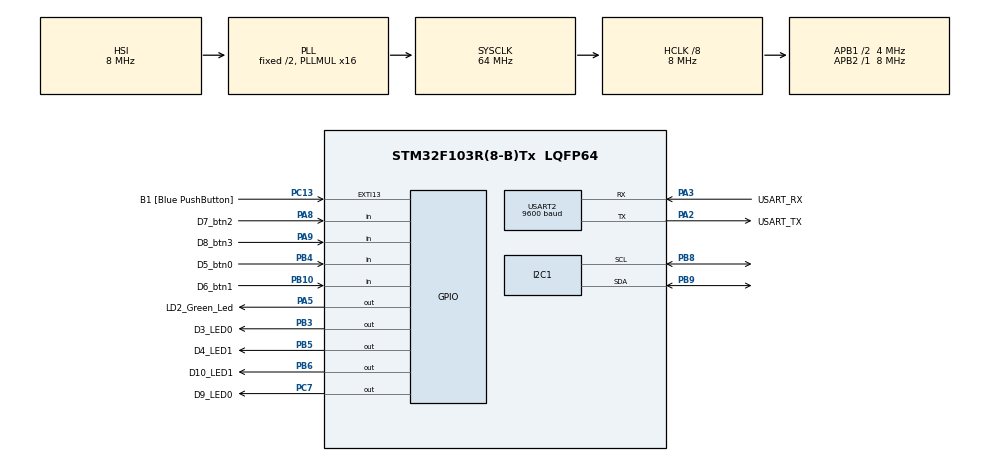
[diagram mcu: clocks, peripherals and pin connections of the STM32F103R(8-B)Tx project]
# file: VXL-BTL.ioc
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Mcu.Family=STM32F1
Mcu.Name=STM32F103R(8-B)Tx
Mcu.Package=LQFP64
NVIC.EXTI15_10_IRQn=true\:0\:0\:false\:false\:true\:true\:true
NVIC.PriorityGroup=NVIC_PRIORITYGROUP_4
NVIC.TIM2_IRQn=true\:0\:0\:false\:false\:true\:true\:true
NVIC.USART2_IRQn=true\:0\:0\:false\:false\:true\:true\:true
PA13.GPIO_Label=TMS
PA13.Mode=Serial_Wire
PA13.Signal=SYS_JTMS-SWDIO
PA14.GPIO_Label=TCK
PA14.Mode=Serial_Wire
PA14.Signal=SYS_JTCK-SWCLK
PA2.GPIO_Label=USART_TX
PA2.GPIO_Mode=GPIO_MODE_AF_PP
PA2.GPIO_PuPd=GPIO_NOPULL
PA2.GPIO_Speed=GPIO_SPEED_FREQ_LOW
PA2.Mode=Asynchronous
PA2.Signal=USART2_TX
PA3.GPIO_Label=USART_RX
PA3.GPIO_Mode=GPIO_MODE_AF_PP
PA3.GPIO_PuPd=GPIO_NOPULL
PA3.GPIO_Speed=GPIO_SPEED_FREQ_LOW
PA3.Mode=Asynchronous
PA3.Signal=USART2_RX
PA5.GPIO_Label=LD2_Green_Led
PA5.GPIO_ModeDefaultOutputPP=GPIO_MODE_OUTPUT_PP
PA5.GPIO_PuPd=GPIO_NOPULL
PA5.GPIO_Speed=GPIO_SPEED_FREQ_LOW
PA5.Signal=GPIO_Output
PA8.GPIO_Label=D7_btn2
PA8.GPIO_PuPd=GPIO_PULLUP
PA8.Signal=GPIO_Input
PA9.GPIO_Label=D8_btn3
PA9.GPIO_PuPd=GPIO_PULLUP
PA9.Signal=GPIO_Input
PB10.GPIO_Label=D6_btn1
PB10.GPIO_PuPd=GPIO_PULLUP
PB10.Signal=GPIO_Input
PB3.GPIO_Label=D3_LED0
PB3.Signal=GPIO_Output
PB4.GPIO_Label=D5_btn0
PB4.GPIO_PuPd=GPIO_PULLUP
PB4.Signal=GPIO_Input
PB5.GPIO_Label=D4_LED1
PB5.Signal=GPIO_Output
PB6.GPIO_Label=D10_LED1
PB6.Signal=GPIO_Output
PB8.Mode=I2C
PB8.Signal=I2C1_SCL
PB9.Mode=I2C
PB9.Signal=I2C1_SDA
PC13-TAMPER-RTC.GPIO_Label=B1 [Blue PushButton]
PC13-TAMPER-RTC.GPIO_PuPd=GPIO_NOPULL
PC13-TAMPER-RTC.Signal=GPXTI13
PC14-OSC32_IN.Mode=LSE-External-Oscillator
PC14-OSC32_IN.Signal=RCC_OSC32_IN
PC15-OSC32_OUT.Mode=LSE-External-Oscillator
PC15-OSC32_OUT.Signal=RCC_OSC32_OUT
PC7.GPIO_Label=D9_LED0
PC7.Signal=GPIO_Output
PD0-OSC_IN.Mode=HSE-External-Clock-Source
PD0-OSC_IN.Signal=RCC_OSC_IN
PD1-OSC_OUT.Mode=HSE-External-Clock-Source
PD1-OSC_OUT.Signal=RCC_OSC_OUT
ProjectManager.HeapSize=0x200
ProjectManager.StackSize=0x400
ProjectManager.TargetToolchain=STM32CubeIDE
RCC.AHBCLKDivider=RCC_SYSCLK_DIV8
RCC.AHBFreq_Value=8000000
RCC.APB1CLKDivider=RCC_HCLK_DIV2
RCC.APB1Freq_Value=4000000
RCC.APB1TimFreq_Value=8000000
RCC.APB2Freq_Value=8000000
RCC.APB2TimFreq_Value=8000000
RCC.HCLKFreq_Value=8000000
RCC.PLLMUL=RCC_PLL_MUL16
RCC.RTCClockSelection=RCC_RTCCLKSOURCE_LSE
RCC.SYSCLKFreq_VALUE=64000000
RCC.SYSCLKSource=RCC_SYSCLKSOURCE_PLLCLK
RCC.USBFreq_Value=64000000
TIM2.Period=9
TIM2.Prescaler=7999
USART2.BaudRate=9600
USART2.VirtualMode=VM_ASYNC
VP_TIM2_VS_ClockSourceINT.Mode=Internal
board=NUCLEO-F103RB

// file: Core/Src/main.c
/* USER CODE BEGIN Header */
/**
  ******************************************************************************
  * @file           : main.c
  * @brief          : Main program body
  ******************************************************************************
  * @attention
  *
  * <h2><center>&copy; Copyright (c) 2024 STMicroelectronics.
  * All rights reserved.</center></h2>
  *
  * This software component is licensed by ST under BSD 3-Clause license,
  * the "License"; You may not use this file except in compliance with the
  * License. You may obtain a copy of the License at:
  *                        opensource.org/licenses/BSD-3-Clause
  *
  ******************************************************************************
  */
/* USER CODE END Header */
#include "main.h"

/* USER CODE BEGIN Includes */
#include "global.h"
#include "fsm_automatic.h"
#include "fsm_manual.h"
#include "fsm_settings.h"
#include "command_read.h"
#include "uart_com.h"
/* USER CODE END Includes */

I2C_HandleTypeDef hi2c1;

TIM_HandleTypeDef htim2;

UART_HandleTypeDef huart2;

void SystemClock_Config(void);
static void MX_GPIO_Init(void);
static void MX_USART2_UART_Init(void);
static void MX_TIM2_Init(void);
static void MX_I2C1_Init(void);

/* USER CODE BEGIN 0 */
void LEDRED(){
	HAL_GPIO_TogglePin(LD2_Green_Led_GPIO_Port, LD2_Green_Led_Pin);
}
void HAL_UART_RxCpltCallback(UART_HandleTypeDef * huart) {
	if(huart->Instance == USART2){
		buffer_flag = 1;
		buffer[index_buffer++] = cursor;
		if (index_buffer == MAX_BUFFER_SIZE) index_buffer = 0;
//		cursor = 'd';
		HAL_UART_Transmit(&huart2, &cursor, 1, 50);
		HAL_UART_Receive_IT(&huart2, &cursor, 1);
	}
}
/* USER CODE END 0 */

int main(void)
{

  /* MCU Configuration--------------------------------------------------------*/

  /* Reset of all peripherals, Initializes the Flash interface and the Systick. */
  HAL_Init();

  /* Configure the system clock */
  SystemClock_Config();

  /* Initialize all configured peripherals */
  MX_GPIO_Init();
  MX_USART2_UART_Init();
  MX_TIM2_Init();
  MX_I2C1_Init();
  /* USER CODE BEGIN 2 */
  HAL_TIM_Base_Start_IT(&htim2);
  HAL_UART_Receive_IT(&huart2, &cursor, 1);
  uint8_t data[5] = "run";
   HAL_UART_Transmit(&huart2, data, sizeof(data), 50);
  lcd_init();
  /* USER CODE END 2 */

  /* Infinite loop */
  /* USER CODE BEGIN WHILE */
  SCH_Init();
  SCH_Add_Task(LEDRED,2000,1000); //index0
  SCH_Add_Task(fsm_confirm, 250, 10); //index1
  SCH_Add_Task(getKeyInput, 250, 10); //index2
  SCH_Add_Task(fsm_increase, 250, 10); //index3
  SCH_Add_Task(fsm_mode, 250, 10);
  SCH_Add_Task(fsm_INIT, 10, 0);

  while (1)
  {
	  SCH_Dispatch_Tasks();
	  if (buffer_flag == 1) {
		  command_read_fsm();
		  buffer_flag = 0;
	  }
	  uart_com_fsm(huart2);
    /* USER CODE END WHILE */

  }
}

void SystemClock_Config(void)
{
  RCC_OscInitTypeDef RCC_OscInitStruct = {0};
  RCC_ClkInitTypeDef RCC_ClkInitStruct = {0};

  /** Initializes the RCC Oscillators according to the specified parameters
  * in the RCC_OscInitTypeDef structure.
  */
  RCC_OscInitStruct.OscillatorType = RCC_OSCILLATORTYPE_HSI;
  RCC_OscInitStruct.HSIState = RCC_HSI_ON;
  RCC_OscInitStruct.HSICalibrationValue = RCC_HSICALIBRATION_DEFAULT;
  RCC_OscInitStruct.PLL.PLLState = RCC_PLL_ON;
  RCC_OscInitStruct.PLL.PLLSource = RCC_PLLSOURCE_HSI_DIV2;
  RCC_OscInitStruct.PLL.PLLMUL = RCC_PLL_MUL16;
  if (HAL_RCC_OscConfig(&RCC_OscInitStruct) != HAL_OK)
  {
    Error_Handler();
  }
  /** Initializes the CPU, AHB and APB buses clocks
  */
  RCC_ClkInitStruct.ClockType = RCC_CLOCKTYPE_HCLK|RCC_CLOCKTYPE_SYSCLK
                              |RCC_CLOCKTYPE_PCLK1|RCC_CLOCKTYPE_PCLK2;
  RCC_ClkInitStruct.SYSCLKSource = RCC_SYSCLKSOURCE_PLLCLK;
  RCC_ClkInitStruct.AHBCLKDivider = RCC_SYSCLK_DIV8;
  RCC_ClkInitStruct.APB1CLKDivider = RCC_HCLK_DIV2;
  RCC_ClkInitStruct.APB2CLKDivider = RCC_HCLK_DIV1;

  if (HAL_RCC_ClockConfig(&RCC_ClkInitStruct, FLASH_LATENCY_2) != HAL_OK)
  {
    Error_Handler();
  }
}

static void MX_I2C1_Init(void)
{

  hi2c1.Instance = I2C1;
  hi2c1.Init.ClockSpeed = 100000;
  hi2c1.Init.DutyCycle = I2C_DUTYCYCLE_2;
  hi2c1.Init.OwnAddress1 = 0;
  hi2c1.Init.AddressingMode = I2C_ADDRESSINGMODE_7BIT;
  hi2c1.Init.DualAddressMode = I2C_DUALADDRESS_DISABLE;
  hi2c1.Init.OwnAddress2 = 0;
  hi2c1.Init.GeneralCallMode = I2C_GENERALCALL_DISABLE;
  hi2c1.Init.NoStretchMode = I2C_NOSTRETCH_DISABLE;
  if (HAL_I2C_Init(&hi2c1) != HAL_OK)
  {
    Error_Handler();
  }

}

static void MX_TIM2_Init(void)
{

  TIM_ClockConfigTypeDef sClockSourceConfig = {0};
  TIM_MasterConfigTypeDef sMasterConfig = {0};

  htim2.Instance = TIM2;
  htim2.Init.Prescaler = 7999;
  htim2.Init.CounterMode = TIM_COUNTERMODE_UP;
  htim2.Init.Period = 9;
  htim2.Init.ClockDivision = TIM_CLOCKDIVISION_DIV1;
  htim2.Init.AutoReloadPreload = TIM_AUTORELOAD_PRELOAD_DISABLE;
  if (HAL_TIM_Base_Init(&htim2) != HAL_OK)
  {
    Error_Handler();
  }
  sClockSourceConfig.ClockSource = TIM_CLOCKSOURCE_INTERNAL;
  if (HAL_TIM_ConfigClockSource(&htim2, &sClockSourceConfig) != HAL_OK)
  {
    Error_Handler();
  }
  sMasterConfig.MasterOutputTrigger = TIM_TRGO_RESET;
  sMasterConfig.MasterSlaveMode = TIM_MASTERSLAVEMODE_DISABLE;
  if (HAL_TIMEx_MasterConfigSynchronization(&htim2, &sMasterConfig) != HAL_OK)
  {
    Error_Handler();
  }

}

static void MX_USART2_UART_Init(void)
{

  huart2.Instance = USART2;
  huart2.Init.BaudRate = 9600;
  huart2.Init.WordLength = UART_WORDLENGTH_8B;
  huart2.Init.StopBits = UART_STOPBITS_1;
  huart2.Init.Parity = UART_PARITY_NONE;
  huart2.Init.Mode = UART_MODE_TX_RX;
  huart2.Init.HwFlowCtl = UART_HWCONTROL_NONE;
  huart2.Init.OverSampling = UART_OVERSAMPLING_16;
  if (HAL_UART_Init(&huart2) != HAL_OK)
  {
    Error_Handler();
  }

}

static void MX_GPIO_Init(void)
{
  GPIO_InitTypeDef GPIO_InitStruct = {0};

  /* GPIO Ports Clock Enable */
  __HAL_RCC_GPIOC_CLK_ENABLE();
  __HAL_RCC_GPIOD_CLK_ENABLE();
  __HAL_RCC_GPIOA_CLK_ENABLE();
  __HAL_RCC_GPIOB_CLK_ENABLE();

  /*Configure GPIO pin Output Level */
  HAL_GPIO_WritePin(LD2_Green_Led_GPIO_Port, LD2_Green_Led_Pin, GPIO_PIN_RESET);

  /*Configure GPIO pin Output Level */
  HAL_GPIO_WritePin(D9_LED0_GPIO_Port, D9_LED0_Pin, GPIO_PIN_RESET);

  /*Configure GPIO pin Output Level */
  HAL_GPIO_WritePin(GPIOB, D3_LED0_Pin|D4_LED1_Pin|D10_LED1_Pin, GPIO_PIN_RESET);

  /*Configure GPIO pin : B1_Pin */
  GPIO_InitStruct.Pin = B1_Pin;
  GPIO_InitStruct.Mode = GPIO_MODE_IT_RISING;
  GPIO_InitStruct.Pull = GPIO_NOPULL;
  HAL_GPIO_Init(B1_GPIO_Port, &GPIO_InitStruct);

  /*Configure GPIO pin : LD2_Green_Led_Pin */
  GPIO_InitStruct.Pin = LD2_Green_Led_Pin;
  GPIO_InitStruct.Mode = GPIO_MODE_OUTPUT_PP;
  GPIO_InitStruct.Pull = GPIO_NOPULL;
  GPIO_InitStruct.Speed = GPIO_SPEED_FREQ_LOW;
  HAL_GPIO_Init(LD2_Green_Led_GPIO_Port, &GPIO_InitStruct);

  /*Configure GPIO pins : D6_btn1_Pin D5_btn0_Pin */
  GPIO_InitStruct.Pin = D6_btn1_Pin|D5_btn0_Pin;
  GPIO_InitStruct.Mode = GPIO_MODE_INPUT;
  GPIO_InitStruct.Pull = GPIO_PULLUP;
  HAL_GPIO_Init(GPIOB, &GPIO_InitStruct);

  /*Configure GPIO pin : D9_LED0_Pin */
  GPIO_InitStruct.Pin = D9_LED0_Pin;
  GPIO_InitStruct.Mode = GPIO_MODE_OUTPUT_PP;
  GPIO_InitStruct.Pull = GPIO_NOPULL;
  GPIO_InitStruct.Speed = GPIO_SPEED_FREQ_LOW;
  HAL_GPIO_Init(D9_LED0_GPIO_Port, &GPIO_InitStruct);

  /*Configure GPIO pins : D7_btn2_Pin D8_btn3_Pin */
  GPIO_InitStruct.Pin = D7_btn2_Pin|D8_btn3_Pin;
  GPIO_InitStruct.Mode = GPIO_MODE_INPUT;
  GPIO_InitStruct.Pull = GPIO_PULLUP;
  HAL_GPIO_Init(GPIOA, &GPIO_InitStruct);

  /*Configure GPIO pins : D3_LED0_Pin D4_LED1_Pin D10_LED1_Pin */
  GPIO_InitStruct.Pin = D3_LED0_Pin|D4_LED1_Pin|D10_LED1_Pin;
  GPIO_InitStruct.Mode = GPIO_MODE_OUTPUT_PP;
  GPIO_InitStruct.Pull = GPIO_NOPULL;
  GPIO_InitStruct.Speed = GPIO_SPEED_FREQ_LOW;
  HAL_GPIO_Init(GPIOB, &GPIO_InitStruct);

  /* EXTI interrupt init*/
  HAL_NVIC_SetPriority(EXTI15_10_IRQn, 0, 0);
  HAL_NVIC_EnableIRQ(EXTI15_10_IRQn);

}

/* USER CODE BEGIN 4 */
void HAL_TIM_PeriodElapsedCallback(TIM_HandleTypeDef *htim){
	SCH_Update();
}
/* USER CODE END 4 */

void Error_Handler(void)
{
  __disable_irq();
  while (1)
  {
  }
}

/************************ (C) COPYRIGHT STMicroelectronics *****END OF FILE****/
